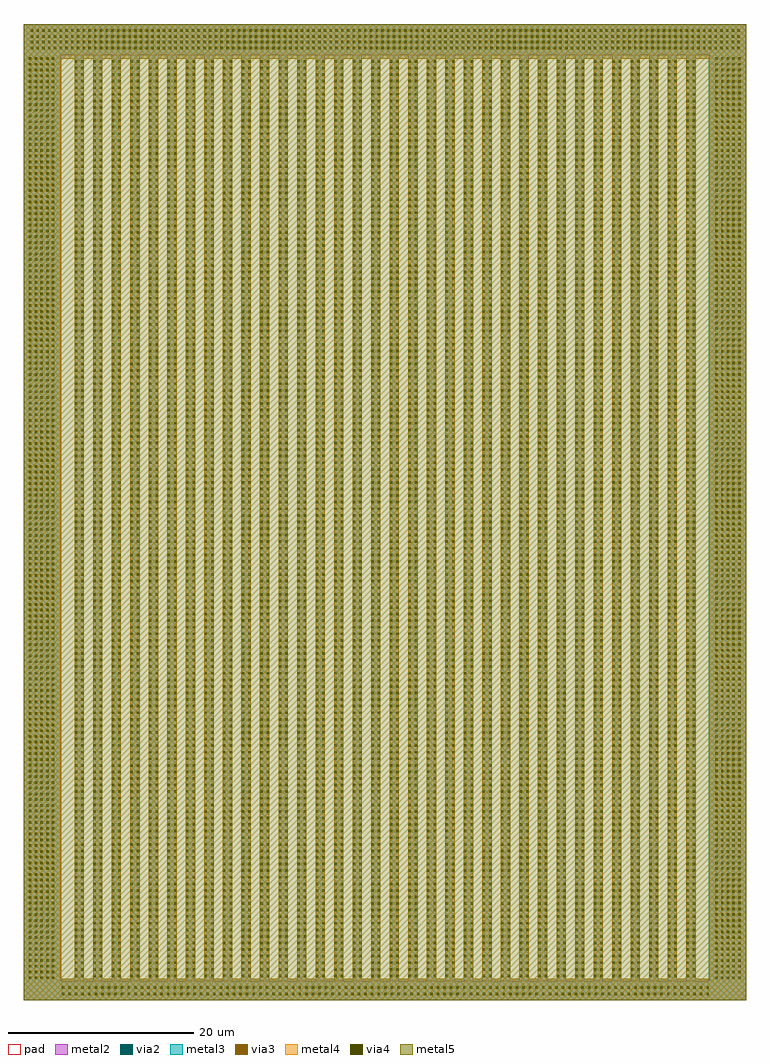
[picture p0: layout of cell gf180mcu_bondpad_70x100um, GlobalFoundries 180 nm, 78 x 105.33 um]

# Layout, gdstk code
from math import pi, radians
import gdstk
lib = gdstk.Library(unit=1e-6, precision=5e-09)
def R(c, l, rs):  # rectangles x0, y0, x1, y1
    for r in rs: c.add(gdstk.rectangle(r[:2], r[2:], *l))
def A(c, l, x, y, w, h, nx, ny, dx, dy):  # array of equal rectangles
    R(c, l, [(x+i*dx, y+j*dy, x+i*dx+w, y+j*dy+h) for i in range(nx) for j in range(ny)])
def P(c, l, *ps):  # polygons
    for p in ps: c.add(gdstk.Polygon(p, *l))
metal2 = (36, 0)
pad = (37, 0)
via2 = (38, 0)
via3 = (40, 0)
via4 = (41, 0)
metal3 = (42, 0)
metal4 = (46, 0)
metal5 = (81, 0)

m3_m2_bottom = lib.new_cell('M3_M2_BOTTOM')
R(m3_m2_bottom, metal2, [(-30.01,-0.545,40.01,0.545)])
A(m3_m2_bottom, via2, -29.92, -0.485, 0.26, 0.26, 99, 2, 0.71, 0.71)
R(m3_m2_bottom, metal3, [(-30.01,-0.545,40.01,0.545)])

m3_m2_mid = lib.new_cell('M3_M2_MID')
R(m3_m2_mid, metal2, [(-29.655,-0.5,69.655,0.5)])
A(m3_m2_mid, via2, -29.475, -0.485, 0.26, 0.26, 140, 2, 0.71, 0.71)
R(m3_m2_mid, metal3, [(-29.655,-0.5,69.655,0.5)])

m4_m3_mid = lib.new_cell('M4_M3_MID')
A(m4_m3_mid, via3, -29.475, -0.485, 0.26, 0.26, 140, 2, 0.71, 0.71)
R(m4_m3_mid, metal3, [(-29.655,-0.5,69.655,0.5)])
R(m4_m3_mid, metal4, [(-29.655,-0.5,69.655,0.5)])

m5_m4_mid = lib.new_cell('M5_M4_MID')
A(m5_m4_mid, via4, -29.475, -0.485, 0.26, 0.26, 140, 2, 0.71, 0.71)
R(m5_m4_mid, metal4, [(-29.655,-0.5,69.655,0.5)])
R(m5_m4_mid, metal5, [(-29.655,-0.5,69.655,0.5)])

m4_m3_side = lib.new_cell('M4_M3_SIDE')
A(m4_m3_side, via3, -69, -1.37, 0.26, 0.26, 161, 5, 0.62, 0.62)
R(m4_m3_side, metal3, [(-69.11,-1.43,30.57,1.43)])
R(m4_m3_side, metal4, [(-69.11,-1.43,30.57,1.43)])

m5_m4_side = lib.new_cell('M5_M4_SIDE')
A(m5_m4_side, via4, -69, -1.37, 0.26, 0.26, 161, 5, 0.62, 0.62)
R(m5_m4_side, metal4, [(-69.11,-1.43,30.57,1.43)])
R(m5_m4_side, metal5, [(-69.11,-1.43,30.57,1.43)])

m5_m4_bottom = lib.new_cell('M5_M4_BOTTOM')
A(m5_m4_bottom, via4, -29.92, -0.485, 0.26, 0.26, 99, 2, 0.71, 0.71)
R(m5_m4_bottom, metal4, [(-30.01,-0.545,40.01,0.545)])
R(m5_m4_bottom, metal5, [(-30.01,-0.545,40.01,0.545)])

m3_m2_side = lib.new_cell('M3_M2_SIDE')
R(m3_m2_side, metal2, [(-69.11,-1.43,30.57,1.43)])
A(m3_m2_side, via2, -69, -1.37, 0.26, 0.26, 161, 5, 0.62, 0.62)
R(m3_m2_side, metal3, [(-69.11,-1.43,30.57,1.43)])

m3_m2_top = lib.new_cell('M3_M2_TOP')
R(m3_m2_top, metal2, [(-33.36,-1.12,43.36,1.12)])
A(m3_m2_top, via2, -33.26, -1.06, 0.26, 0.26, 124, 4, 0.62, 0.62)
R(m3_m2_top, metal3, [(-33.36,-1.12,43.36,1.12)])

m4_m3_top = lib.new_cell('M4_M3_TOP')
A(m4_m3_top, via3, -33.26, -1.06, 0.26, 0.26, 124, 4, 0.62, 0.62)
R(m4_m3_top, metal3, [(-33.36,-1.12,43.36,1.12)])
R(m4_m3_top, metal4, [(-33.36,-1.12,43.36,1.12)])

m4_m3_bottom = lib.new_cell('M4_M3_BOTTOM')
A(m4_m3_bottom, via3, -29.92, -0.485, 0.26, 0.26, 99, 2, 0.71, 0.71)
R(m4_m3_bottom, metal3, [(-30.01,-0.545,40.01,0.545)])
R(m4_m3_bottom, metal4, [(-30.01,-0.545,40.01,0.545)])

m5_m4_top = lib.new_cell('M5_M4_TOP')
A(m5_m4_top, via4, -33.26, -1.06, 0.26, 0.26, 124, 4, 0.62, 0.62)
R(m5_m4_top, metal4, [(-33.36,-1.12,43.36,1.12)])
R(m5_m4_top, metal5, [(-33.36,-1.12,43.36,1.12)])

gf180mcu_bondpad_70x100u = lib.new_cell('gf180mcu_bondpad_70x100um')
R(gf180mcu_bondpad_70x100u, metal2, [(-5,-40,69,-38), (-7,62,71,64), (-7,64,71,65.325)])
R(gf180mcu_bondpad_70x100u, pad, [(-3,-38,67,62)])
R(gf180mcu_bondpad_70x100u, metal3, [(-7,64,71,65.325)])
P(gf180mcu_bondpad_70x100u, metal3, [(-7,-40),(-7,65.325),(71,65.325),(71,-40),(-3,-40),(-3,-37.71),(66.96,-37.71),(66.96,61.6),(-3,61.6),(-3,-40)])
R(gf180mcu_bondpad_70x100u, metal4, [(-7,64,71,65.325)])
P(gf180mcu_bondpad_70x100u, metal4, [(-7,-40),(-7,64),(71,64),(71,-40),(-3,-40),(-3,-37.71),(67,-37.71),(67,61.6),(-3,61.6),(-3,-40)])
R(gf180mcu_bondpad_70x100u, metal5, [(-7,-40,71,64), (-7,64,71,65.325)])
gf180mcu_bondpad_70x100u.add(gdstk.FlexPath([(-0.99,62.205),(-0.99,-38.73)], 1, ends="flush", simple_path=True, layer=36, datatype=0))  # metal2
gf180mcu_bondpad_70x100u.add(gdstk.FlexPath([(1.01,62.205),(1.01,-38.73)], 1, ends="flush", simple_path=True, layer=36, datatype=0))  # metal2
gf180mcu_bondpad_70x100u.add(gdstk.FlexPath([(3.01,62.205),(3.01,-38.73)], 1, ends="flush", simple_path=True, layer=36, datatype=0))  # metal2
gf180mcu_bondpad_70x100u.add(gdstk.FlexPath([(5.01,62.205),(5.01,-38.73)], 1, ends="flush", simple_path=True, layer=36, datatype=0))  # metal2
gf180mcu_bondpad_70x100u.add(gdstk.FlexPath([(7.01,62.205),(7.01,-38.73)], 1, ends="flush", simple_path=True, layer=36, datatype=0))  # metal2
gf180mcu_bondpad_70x100u.add(gdstk.FlexPath([(9.01,62.205),(9.01,-38.73)], 1, ends="flush", simple_path=True, layer=36, datatype=0))  # metal2
gf180mcu_bondpad_70x100u.add(gdstk.FlexPath([(11.01,62.205),(11.01,-38.73)], 1, ends="flush", simple_path=True, layer=36, datatype=0))  # metal2
gf180mcu_bondpad_70x100u.add(gdstk.FlexPath([(13.01,62.205),(13.01,-38.73)], 1, ends="flush", simple_path=True, layer=36, datatype=0))  # metal2
gf180mcu_bondpad_70x100u.add(gdstk.FlexPath([(15.01,62.205),(15.01,-38.73)], 1, ends="flush", simple_path=True, layer=36, datatype=0))  # metal2
gf180mcu_bondpad_70x100u.add(gdstk.FlexPath([(17.01,62.205),(17.01,-38.73)], 1, ends="flush", simple_path=True, layer=36, datatype=0))  # metal2
gf180mcu_bondpad_70x100u.add(gdstk.FlexPath([(19.01,62.205),(19.01,-38.73)], 1, ends="flush", simple_path=True, layer=36, datatype=0))  # metal2
gf180mcu_bondpad_70x100u.add(gdstk.FlexPath([(21.01,62.205),(21.01,-38.73)], 1, ends="flush", simple_path=True, layer=36, datatype=0))  # metal2
gf180mcu_bondpad_70x100u.add(gdstk.FlexPath([(23.01,62.205),(23.01,-38.73)], 1, ends="flush", simple_path=True, layer=36, datatype=0))  # metal2
gf180mcu_bondpad_70x100u.add(gdstk.FlexPath([(25.01,62.205),(25.01,-38.73)], 1, ends="flush", simple_path=True, layer=36, datatype=0))  # metal2
gf180mcu_bondpad_70x100u.add(gdstk.FlexPath([(27.01,62.205),(27.01,-38.73)], 1, ends="flush", simple_path=True, layer=36, datatype=0))  # metal2
gf180mcu_bondpad_70x100u.add(gdstk.FlexPath([(29.01,62.205),(29.01,-38.73)], 1, ends="flush", simple_path=True, layer=36, datatype=0))  # metal2
gf180mcu_bondpad_70x100u.add(gdstk.FlexPath([(31.01,62.205),(31.01,-38.73)], 1, ends="flush", simple_path=True, layer=36, datatype=0))  # metal2
gf180mcu_bondpad_70x100u.add(gdstk.FlexPath([(33.01,62.205),(33.01,-38.73)], 1, ends="flush", simple_path=True, layer=36, datatype=0))  # metal2
gf180mcu_bondpad_70x100u.add(gdstk.FlexPath([(35.01,62.205),(35.01,-38.73)], 1, ends="flush", simple_path=True, layer=36, datatype=0))  # metal2
gf180mcu_bondpad_70x100u.add(gdstk.FlexPath([(37.01,62.205),(37.01,-38.73)], 1, ends="flush", simple_path=True, layer=36, datatype=0))  # metal2
gf180mcu_bondpad_70x100u.add(gdstk.FlexPath([(39.01,62.205),(39.01,-38.73)], 1, ends="flush", simple_path=True, layer=36, datatype=0))  # metal2
gf180mcu_bondpad_70x100u.add(gdstk.FlexPath([(41.01,62.205),(41.01,-38.73)], 1, ends="flush", simple_path=True, layer=36, datatype=0))  # metal2
gf180mcu_bondpad_70x100u.add(gdstk.FlexPath([(43.01,62.205),(43.01,-38.73)], 1, ends="flush", simple_path=True, layer=36, datatype=0))  # metal2
gf180mcu_bondpad_70x100u.add(gdstk.FlexPath([(45.01,62.205),(45.01,-38.73)], 1, ends="flush", simple_path=True, layer=36, datatype=0))  # metal2
gf180mcu_bondpad_70x100u.add(gdstk.FlexPath([(47.01,62.205),(47.01,-38.73)], 1, ends="flush", simple_path=True, layer=36, datatype=0))  # metal2
gf180mcu_bondpad_70x100u.add(gdstk.FlexPath([(49.01,62.205),(49.01,-38.73)], 1, ends="flush", simple_path=True, layer=36, datatype=0))  # metal2
gf180mcu_bondpad_70x100u.add(gdstk.FlexPath([(51.01,62.205),(51.01,-38.73)], 1, ends="flush", simple_path=True, layer=36, datatype=0))  # metal2
gf180mcu_bondpad_70x100u.add(gdstk.FlexPath([(53.01,62.205),(53.01,-38.73)], 1, ends="flush", simple_path=True, layer=36, datatype=0))  # metal2
gf180mcu_bondpad_70x100u.add(gdstk.FlexPath([(55.01,62.205),(55.01,-38.73)], 1, ends="flush", simple_path=True, layer=36, datatype=0))  # metal2
gf180mcu_bondpad_70x100u.add(gdstk.FlexPath([(57.01,62.205),(57.01,-38.73)], 1, ends="flush", simple_path=True, layer=36, datatype=0))  # metal2
gf180mcu_bondpad_70x100u.add(gdstk.FlexPath([(59.01,62.205),(59.01,-38.73)], 1, ends="flush", simple_path=True, layer=36, datatype=0))  # metal2
gf180mcu_bondpad_70x100u.add(gdstk.FlexPath([(61.01,62.205),(61.01,-38.73)], 1, ends="flush", simple_path=True, layer=36, datatype=0))  # metal2
gf180mcu_bondpad_70x100u.add(gdstk.FlexPath([(63.01,62.205),(63.01,-38.73)], 1, ends="flush", simple_path=True, layer=36, datatype=0))  # metal2
gf180mcu_bondpad_70x100u.add(gdstk.FlexPath([(65.01,62.205),(65.01,-38.73)], 1, ends="flush", simple_path=True, layer=36, datatype=0))  # metal2
gf180mcu_bondpad_70x100u.add(gdstk.FlexPath([(-4,62.205),(-4,-38.73)], 2, ends="flush", simple_path=True, layer=36, datatype=0))  # metal2
gf180mcu_bondpad_70x100u.add(gdstk.FlexPath([(68,62.205),(68,-38.73)], 2, ends="flush", simple_path=True, layer=36, datatype=0))  # metal2
gf180mcu_bondpad_70x100u.add(gdstk.FlexPath([(-6,62.205),(-6,-40)], 2, ends="flush", simple_path=True, layer=36, datatype=0))  # metal2
gf180mcu_bondpad_70x100u.add(gdstk.FlexPath([(70,62.205),(70,-40)], 2, ends="flush", simple_path=True, layer=36, datatype=0))  # metal2
gf180mcu_bondpad_70x100u.add(gdstk.Reference(m3_m2_bottom, (27.035,-38.985)))
gf180mcu_bondpad_70x100u.add(gdstk.Reference(m3_m2_mid, (-0.99,-8.055), rotation=pi/2))
gf180mcu_bondpad_70x100u.add(gdstk.Reference(m3_m2_mid, (1.01,-8.055), rotation=pi/2))
gf180mcu_bondpad_70x100u.add(gdstk.Reference(m3_m2_mid, (3.01,-8.055), rotation=pi/2))
gf180mcu_bondpad_70x100u.add(gdstk.Reference(m3_m2_mid, (5.01,-8.055), rotation=pi/2))
gf180mcu_bondpad_70x100u.add(gdstk.Reference(m3_m2_mid, (7.01,-8.055), rotation=pi/2))
gf180mcu_bondpad_70x100u.add(gdstk.Reference(m3_m2_mid, (9.01,-8.055), rotation=pi/2))
gf180mcu_bondpad_70x100u.add(gdstk.Reference(m3_m2_mid, (11.01,-8.055), rotation=pi/2))
gf180mcu_bondpad_70x100u.add(gdstk.Reference(m3_m2_mid, (13.01,-8.055), rotation=pi/2))
gf180mcu_bondpad_70x100u.add(gdstk.Reference(m3_m2_mid, (15.01,-8.055), rotation=pi/2))
gf180mcu_bondpad_70x100u.add(gdstk.Reference(m3_m2_mid, (17.01,-8.055), rotation=pi/2))
gf180mcu_bondpad_70x100u.add(gdstk.Reference(m3_m2_mid, (19.01,-8.055), rotation=pi/2))
gf180mcu_bondpad_70x100u.add(gdstk.Reference(m3_m2_mid, (21.01,-8.055), rotation=pi/2))
gf180mcu_bondpad_70x100u.add(gdstk.Reference(m3_m2_mid, (23.01,-8.055), rotation=pi/2))
gf180mcu_bondpad_70x100u.add(gdstk.Reference(m3_m2_mid, (25.01,-8.055), rotation=pi/2))
gf180mcu_bondpad_70x100u.add(gdstk.Reference(m3_m2_mid, (27.01,-8.055), rotation=pi/2))
gf180mcu_bondpad_70x100u.add(gdstk.Reference(m3_m2_mid, (29.01,-8.055), rotation=pi/2))
gf180mcu_bondpad_70x100u.add(gdstk.Reference(m3_m2_mid, (31.01,-8.055), rotation=pi/2))
gf180mcu_bondpad_70x100u.add(gdstk.Reference(m3_m2_mid, (33.01,-8.055), rotation=pi/2))
gf180mcu_bondpad_70x100u.add(gdstk.Reference(m3_m2_mid, (35.01,-8.055), rotation=pi/2))
gf180mcu_bondpad_70x100u.add(gdstk.Reference(m3_m2_mid, (37.01,-8.055), rotation=pi/2))
gf180mcu_bondpad_70x100u.add(gdstk.Reference(m3_m2_mid, (39.01,-8.055), rotation=pi/2))
gf180mcu_bondpad_70x100u.add(gdstk.Reference(m3_m2_mid, (41.01,-8.055), rotation=pi/2))
gf180mcu_bondpad_70x100u.add(gdstk.Reference(m3_m2_mid, (43.01,-8.055), rotation=pi/2))
gf180mcu_bondpad_70x100u.add(gdstk.Reference(m3_m2_mid, (45.01,-8.055), rotation=pi/2))
gf180mcu_bondpad_70x100u.add(gdstk.Reference(m3_m2_mid, (47.01,-8.055), rotation=pi/2))
gf180mcu_bondpad_70x100u.add(gdstk.Reference(m3_m2_mid, (49.01,-8.055), rotation=pi/2))
gf180mcu_bondpad_70x100u.add(gdstk.Reference(m3_m2_mid, (51.01,-8.055), rotation=pi/2))
gf180mcu_bondpad_70x100u.add(gdstk.Reference(m3_m2_mid, (53.01,-8.055), rotation=pi/2))
gf180mcu_bondpad_70x100u.add(gdstk.Reference(m3_m2_mid, (55.01,-8.055), rotation=pi/2))
gf180mcu_bondpad_70x100u.add(gdstk.Reference(m3_m2_mid, (57.01,-8.055), rotation=pi/2))
gf180mcu_bondpad_70x100u.add(gdstk.Reference(m3_m2_mid, (59.01,-8.055), rotation=pi/2))
gf180mcu_bondpad_70x100u.add(gdstk.Reference(m3_m2_mid, (61.01,-8.055), rotation=pi/2))
gf180mcu_bondpad_70x100u.add(gdstk.Reference(m3_m2_mid, (63.01,-8.055), rotation=pi/2))
gf180mcu_bondpad_70x100u.add(gdstk.Reference(m3_m2_mid, (65.01,-8.055), rotation=pi/2))
gf180mcu_bondpad_70x100u.add(gdstk.Reference(m4_m3_mid, (1.01,-8.055), rotation=pi/2))
gf180mcu_bondpad_70x100u.add(gdstk.Reference(m4_m3_mid, (3.01,-8.055), rotation=pi/2))
gf180mcu_bondpad_70x100u.add(gdstk.Reference(m4_m3_mid, (5.01,-8.055), rotation=pi/2))
gf180mcu_bondpad_70x100u.add(gdstk.Reference(m4_m3_mid, (7.01,-8.055), rotation=pi/2))
gf180mcu_bondpad_70x100u.add(gdstk.Reference(m4_m3_mid, (9.01,-8.055), rotation=pi/2))
gf180mcu_bondpad_70x100u.add(gdstk.Reference(m4_m3_mid, (11.01,-8.055), rotation=pi/2))
gf180mcu_bondpad_70x100u.add(gdstk.Reference(m4_m3_mid, (13.01,-8.055), rotation=pi/2))
gf180mcu_bondpad_70x100u.add(gdstk.Reference(m4_m3_mid, (15.01,-8.055), rotation=pi/2))
gf180mcu_bondpad_70x100u.add(gdstk.Reference(m4_m3_mid, (17.01,-8.055), rotation=pi/2))
gf180mcu_bondpad_70x100u.add(gdstk.Reference(m4_m3_mid, (19.01,-8.055), rotation=pi/2))
gf180mcu_bondpad_70x100u.add(gdstk.Reference(m4_m3_mid, (21.01,-8.055), rotation=pi/2))
gf180mcu_bondpad_70x100u.add(gdstk.Reference(m4_m3_mid, (23.01,-8.055), rotation=pi/2))
gf180mcu_bondpad_70x100u.add(gdstk.Reference(m4_m3_mid, (25.01,-8.055), rotation=pi/2))
gf180mcu_bondpad_70x100u.add(gdstk.Reference(m4_m3_mid, (27.01,-8.055), rotation=pi/2))
gf180mcu_bondpad_70x100u.add(gdstk.Reference(m4_m3_mid, (29.01,-8.055), rotation=pi/2))
gf180mcu_bondpad_70x100u.add(gdstk.Reference(m4_m3_mid, (31.01,-8.055), rotation=pi/2))
gf180mcu_bondpad_70x100u.add(gdstk.Reference(m4_m3_mid, (33.01,-8.055), rotation=pi/2))
gf180mcu_bondpad_70x100u.add(gdstk.Reference(m4_m3_mid, (35.01,-8.055), rotation=pi/2))
gf180mcu_bondpad_70x100u.add(gdstk.Reference(m4_m3_mid, (37.01,-8.055), rotation=pi/2))
gf180mcu_bondpad_70x100u.add(gdstk.Reference(m4_m3_mid, (39.01,-8.055), rotation=pi/2))
gf180mcu_bondpad_70x100u.add(gdstk.Reference(m4_m3_mid, (41.01,-8.055), rotation=pi/2))
gf180mcu_bondpad_70x100u.add(gdstk.Reference(m5_m4_mid, (1.01,-8.055), rotation=pi/2))
gf180mcu_bondpad_70x100u.add(gdstk.Reference(m5_m4_mid, (3.01,-8.055), rotation=pi/2))
gf180mcu_bondpad_70x100u.add(gdstk.Reference(m5_m4_mid, (5.01,-8.055), rotation=pi/2))
gf180mcu_bondpad_70x100u.add(gdstk.Reference(m5_m4_mid, (7.01,-8.055), rotation=pi/2))
gf180mcu_bondpad_70x100u.add(gdstk.Reference(m5_m4_mid, (9.01,-8.055), rotation=pi/2))
gf180mcu_bondpad_70x100u.add(gdstk.Reference(m5_m4_mid, (11.01,-8.055), rotation=pi/2))
gf180mcu_bondpad_70x100u.add(gdstk.Reference(m5_m4_mid, (13.01,-8.055), rotation=pi/2))
gf180mcu_bondpad_70x100u.add(gdstk.Reference(m5_m4_mid, (15.01,-8.055), rotation=pi/2))
gf180mcu_bondpad_70x100u.add(gdstk.Reference(m4_m3_side, (-5.05,31.27), rotation=pi/2))
gf180mcu_bondpad_70x100u.add(gdstk.Reference(m4_m3_side, (69.01,31.27), rotation=pi/2))
gf180mcu_bondpad_70x100u.add(gdstk.Reference(m5_m4_side, (-5.05,31.27), rotation=pi/2))
gf180mcu_bondpad_70x100u.add(gdstk.Reference(m5_m4_side, (69.01,31.27), rotation=pi/2))
gf180mcu_bondpad_70x100u.add(gdstk.Reference(m5_m4_bottom, (27.035,-38.985)))
gf180mcu_bondpad_70x100u.add(gdstk.Reference(m5_m4_mid, (17.01,-8.055), rotation=pi/2))
gf180mcu_bondpad_70x100u.add(gdstk.Reference(m5_m4_mid, (19.01,-8.055), rotation=pi/2))
gf180mcu_bondpad_70x100u.add(gdstk.Reference(m5_m4_mid, (21.01,-8.055), rotation=pi/2))
gf180mcu_bondpad_70x100u.add(gdstk.Reference(m5_m4_mid, (23.01,-8.055), rotation=pi/2))
gf180mcu_bondpad_70x100u.add(gdstk.Reference(m5_m4_mid, (25.01,-8.055), rotation=pi/2))
gf180mcu_bondpad_70x100u.add(gdstk.Reference(m5_m4_mid, (27.01,-8.055), rotation=pi/2))
gf180mcu_bondpad_70x100u.add(gdstk.Reference(m5_m4_mid, (29.01,-8.055), rotation=pi/2))
gf180mcu_bondpad_70x100u.add(gdstk.Reference(m5_m4_mid, (31.01,-8.055), rotation=pi/2))
gf180mcu_bondpad_70x100u.add(gdstk.Reference(m5_m4_mid, (33.01,-8.055), rotation=pi/2))
gf180mcu_bondpad_70x100u.add(gdstk.Reference(m5_m4_mid, (35.01,-8.055), rotation=pi/2))
gf180mcu_bondpad_70x100u.add(gdstk.Reference(m5_m4_mid, (37.01,-8.055), rotation=pi/2))
gf180mcu_bondpad_70x100u.add(gdstk.Reference(m5_m4_mid, (39.01,-8.055), rotation=pi/2))
gf180mcu_bondpad_70x100u.add(gdstk.Reference(m5_m4_mid, (41.01,-8.055), rotation=pi/2))
gf180mcu_bondpad_70x100u.add(gdstk.Reference(m4_m3_mid, (43.01,-8.055), rotation=pi/2))
gf180mcu_bondpad_70x100u.add(gdstk.Reference(m4_m3_mid, (45.01,-8.055), rotation=pi/2))
gf180mcu_bondpad_70x100u.add(gdstk.Reference(m4_m3_mid, (47.01,-8.055), rotation=pi/2))
gf180mcu_bondpad_70x100u.add(gdstk.Reference(m4_m3_mid, (49.01,-8.055), rotation=pi/2))
gf180mcu_bondpad_70x100u.add(gdstk.Reference(m4_m3_mid, (51.01,-8.055), rotation=pi/2))
gf180mcu_bondpad_70x100u.add(gdstk.Reference(m4_m3_mid, (53.01,-8.055), rotation=pi/2))
gf180mcu_bondpad_70x100u.add(gdstk.Reference(m4_m3_mid, (55.01,-8.055), rotation=pi/2))
gf180mcu_bondpad_70x100u.add(gdstk.Reference(m4_m3_mid, (57.01,-8.055), rotation=pi/2))
gf180mcu_bondpad_70x100u.add(gdstk.Reference(m4_m3_mid, (59.01,-8.055), rotation=pi/2))
gf180mcu_bondpad_70x100u.add(gdstk.Reference(m5_m4_mid, (43.01,-8.055), rotation=pi/2))
gf180mcu_bondpad_70x100u.add(gdstk.Reference(m5_m4_mid, (45.01,-8.055), rotation=pi/2))
gf180mcu_bondpad_70x100u.add(gdstk.Reference(m3_m2_side, (-5.05,31.27), rotation=pi/2))
gf180mcu_bondpad_70x100u.add(gdstk.Reference(m5_m4_mid, (47.01,-8.055), rotation=pi/2))
gf180mcu_bondpad_70x100u.add(gdstk.Reference(m5_m4_mid, (49.01,-8.055), rotation=pi/2))
gf180mcu_bondpad_70x100u.add(gdstk.Reference(m5_m4_mid, (51.01,-8.055), rotation=pi/2))
gf180mcu_bondpad_70x100u.add(gdstk.Reference(m5_m4_mid, (53.01,-8.055), rotation=pi/2))
gf180mcu_bondpad_70x100u.add(gdstk.Reference(m3_m2_side, (69.01,31.27), rotation=pi/2))
gf180mcu_bondpad_70x100u.add(gdstk.Reference(m3_m2_top, (27.04,63.675)))
gf180mcu_bondpad_70x100u.add(gdstk.Reference(m4_m3_top, (27.04,63.675)))
gf180mcu_bondpad_70x100u.add(gdstk.Reference(m4_m3_bottom, (27.035,-38.985)))
gf180mcu_bondpad_70x100u.add(gdstk.Reference(m5_m4_top, (27.04,63.675)))
gf180mcu_bondpad_70x100u.add(gdstk.Reference(m4_m3_mid, (-0.99,-8.055), rotation=pi/2))
gf180mcu_bondpad_70x100u.add(gdstk.Reference(m5_m4_mid, (55.01,-8.055), rotation=pi/2))
gf180mcu_bondpad_70x100u.add(gdstk.Reference(m5_m4_mid, (57.01,-8.055), rotation=pi/2))
gf180mcu_bondpad_70x100u.add(gdstk.Reference(m5_m4_mid, (59.01,-8.055), rotation=pi/2))
gf180mcu_bondpad_70x100u.add(gdstk.Reference(m5_m4_mid, (-0.99,-8.055), rotation=pi/2))
gf180mcu_bondpad_70x100u.add(gdstk.Reference(m4_m3_mid, (61.01,-8.055), rotation=pi/2))
gf180mcu_bondpad_70x100u.add(gdstk.Reference(m4_m3_mid, (63.01,-8.055), rotation=pi/2))
gf180mcu_bondpad_70x100u.add(gdstk.Reference(m4_m3_mid, (65.01,-8.055), rotation=pi/2))
gf180mcu_bondpad_70x100u.add(gdstk.Reference(m5_m4_mid, (61.01,-8.055), rotation=pi/2))
gf180mcu_bondpad_70x100u.add(gdstk.Reference(m5_m4_mid, (63.01,-8.055), rotation=pi/2))
gf180mcu_bondpad_70x100u.add(gdstk.Reference(m5_m4_mid, (65.01,-8.055), rotation=pi/2))

lib.write_gds('gf180mcu_bondpad_70x100um.gds')
